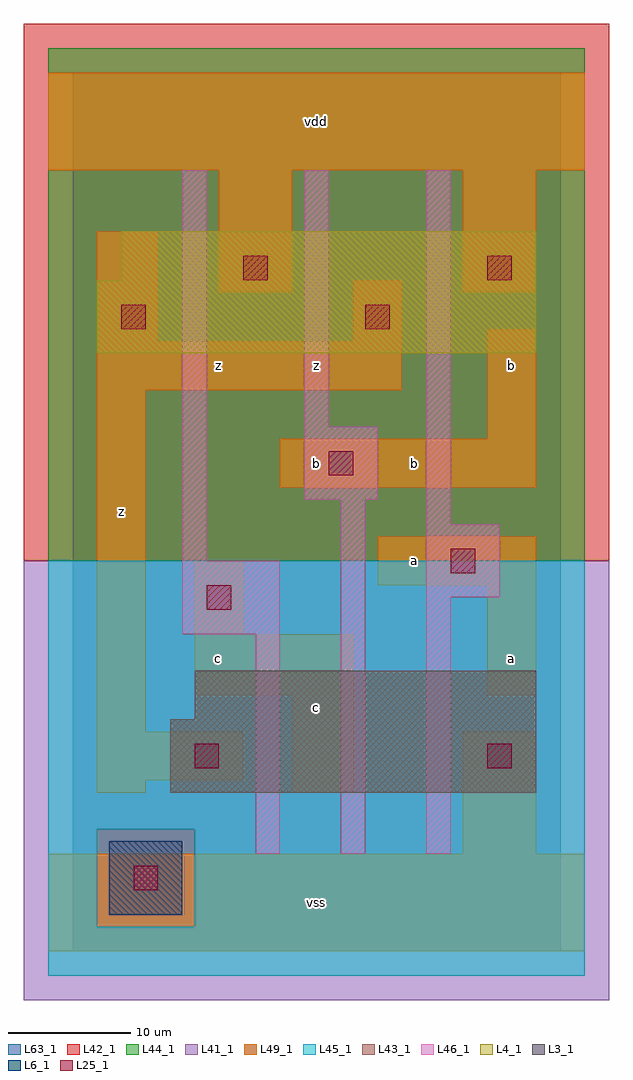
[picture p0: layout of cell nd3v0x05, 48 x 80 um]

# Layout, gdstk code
import gdstk
lib = gdstk.Library(unit=1e-6, precision=1e-09)
def R(c, l, rs):  # rectangles x0, y0, x1, y1
    for r in rs: c.add(gdstk.rectangle(r[:2], r[2:], *l))
L3_1 = (3, 1)
L4_1 = (4, 1)
L6_1 = (6, 1)
L25_1 = (25, 1)
L41_1 = (41, 1)
L42_1 = (42, 1)
L43_1 = (43, 1)
L44_1 = (44, 1)
L45_1 = (45, 1)
L46_1 = (46, 1)
L49_1 = (49, 1)
L63_1 = (63, 1)

nd3v0x05 = lib.new_cell('nd3v0x05')
R(nd3v0x05, L3_1, [(8,13,38,19), (10,19,38,23)])
R(nd3v0x05, L4_1, [(2,49,38,55), (4,55,38,59)])
R(nd3v0x05, L6_1, [(3,3,9,9), (3,3,9,9)])
R(nd3v0x05, L25_1, [(5,5,7,7), (10,15,12,17), (34,15,36,17), (11,28,13,30), (31,31,33,33), (21,39,23,41), (4,51,6,53), (24,51,26,53), (14,55,16,57), (34,55,36,57)])
R(nd3v0x05, L41_1, [(-4,-4,44,32)])
R(nd3v0x05, L42_1, [(-4,32,44,76)])
R(nd3v0x05, L43_1, [(3,3,9,9), (8,13,38,19), (10,19,38,23), (2,49,38,55), (4,55,38,59)])
R(nd3v0x05, L44_1, [(2,2,10,10), (-2,32,42,74)])
R(nd3v0x05, L45_1, [(-2,-2,42,2), (-2,2,2,10), (10,2,42,10), (-2,10,42,32)])
R(nd3v0x05, L46_1, [(15,8,17,26), (22,8,24,37), (29,8,31,29), (9,26,17,32), (29,29,35,35), (9,32,11,64), (29,35,31,64), (19,37,25,43), (19,43,21,64)])
R(nd3v0x05, L49_1, [(-2,0,42,8), (32,8,38,18), (2,13,6,14), (18,13,23,21), (2,14,14,18), (2,18,6,46), (10,21,23,26), (34,21,38,30), (10,26,14,32), (25,30,38,34), (17,38,38,42), (34,42,38,51), (2,46,27,50), (2,50,7,59), (23,50,27,55), (12,54,18,64), (32,54,38,64), (-2,64,42,72)])
R(nd3v0x05, L63_1, [(0,0,40,72)])
nd3v0x05.add(gdstk.Label('z', (4,36), layer=49, texttype=1))
nd3v0x05.add(gdstk.Label('c', (12,24), layer=49, texttype=1))
nd3v0x05.add(gdstk.Label('z', (12,48), layer=49, texttype=1))
nd3v0x05.add(gdstk.Label('vss', (20,4), layer=49, texttype=1))
nd3v0x05.add(gdstk.Label('c', (20,20), layer=49, texttype=1))
nd3v0x05.add(gdstk.Label('a', (28,32), layer=49, texttype=1))
nd3v0x05.add(gdstk.Label('b', (28,40), layer=49, texttype=1))
nd3v0x05.add(gdstk.Label('b', (20,40), layer=49, texttype=1))
nd3v0x05.add(gdstk.Label('z', (20,48), layer=49, texttype=1))
nd3v0x05.add(gdstk.Label('vdd', (20,68), layer=49, texttype=1))
nd3v0x05.add(gdstk.Label('a', (36,24), layer=49, texttype=1))
nd3v0x05.add(gdstk.Label('b', (36,48), layer=49, texttype=1))

lib.write_gds('nd3v0x05.gds')
